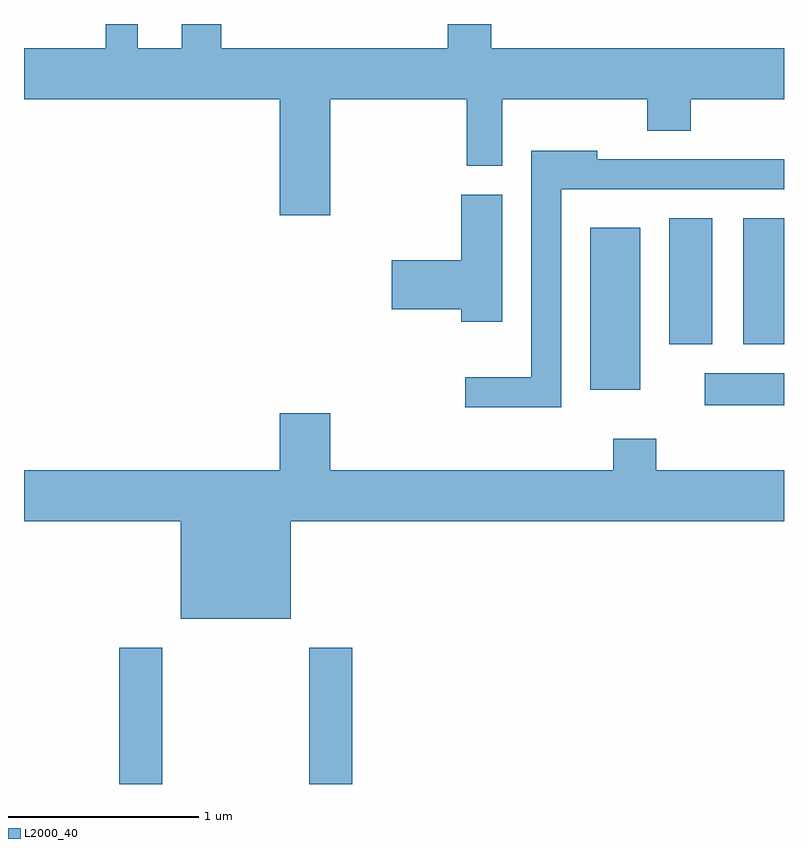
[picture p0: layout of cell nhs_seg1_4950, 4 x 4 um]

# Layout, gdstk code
import gdstk
lib = gdstk.Library(unit=1e-6, precision=1e-09)
def R(c, l, rs):  # rectangles x0, y0, x1, y1
    for r in rs: c.add(gdstk.rectangle(r[:2], r[2:], *l))
def P(c, l, *ps):  # polygons
    for p in ps: c.add(gdstk.Polygon(p, *l))
L2000_40 = (2000, 40)

nhs_seg1_4950 = lib.new_cell('nhs_seg1_4950')
R(nhs_seg1_4950, L2000_40, [(334.111,933.712,334.339,934.429), (335.111,933.712,335.339,934.429), (337.193,935.706,337.611,935.874), (336.591,935.786,336.854,936.639), (337.006,936.026,337.234,936.689), (337.396,936.026,337.611,936.689)])
P(nhs_seg1_4950, L2000_40, [(334.041,937.712),(334.041,937.584),(333.611,937.584),(333.611,937.316),(334.956,937.316),(334.956,936.706),(335.224,936.706),(335.224,937.316),(335.941,937.316),(335.941,936.966),(336.129,936.966),(336.129,937.316),(336.891,937.316),(336.891,937.151),(337.119,937.151),(337.119,937.316),(337.611,937.316),(337.611,937.584),(336.069,937.584),(336.069,937.712),(335.841,937.712),(335.841,937.584),(334.649,937.584),(334.649,937.712),(334.441,937.712),(334.441,937.584),(334.209,937.584),(334.209,937.712)],
  [(336.439,936.841),(337.611,936.841),(337.611,936.999),(336.629,936.999),(336.629,937.044),(336.281,937.044),(336.281,935.854),(335.933,935.854),(335.933,935.696),(336.439,935.696)],
  [(336.129,936.814),(335.911,936.814),(335.911,936.469),(335.546,936.469),(335.546,936.211),(335.911,936.211),(335.911,936.146),(336.129,936.146)],
  [(335.014,935.096),(337.611,935.096),(337.611,935.364),(336.939,935.364),(336.939,935.529),(336.711,935.529),(336.711,935.364),(335.224,935.364),(335.224,935.664),(334.956,935.664),(334.956,935.364),(333.611,935.364),(333.611,935.096),(334.436,935.096),(334.436,934.581),(335.014,934.581)])

lib.write_gds('nhs_seg1_4950.gds')
